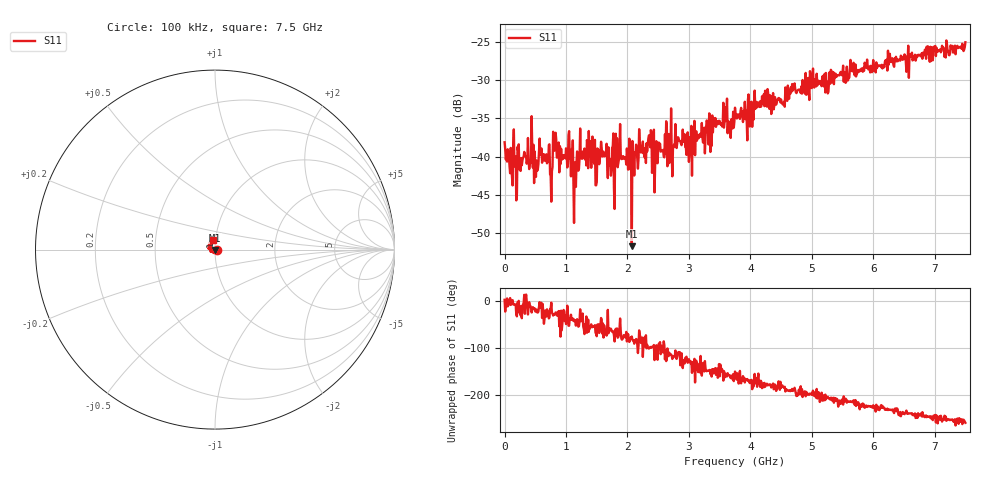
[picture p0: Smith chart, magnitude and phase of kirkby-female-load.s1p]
# Hz S RI R 50.000000
! FREQ  re:S1  1  im:S1  1
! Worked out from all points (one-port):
!   751 points, 100 kHz to 7.5 GHz, reference 50 ohm
!   lowest |S11| = -51.7 dB at 2.07 GHz (marker M1), VSWR 1.01, Z = 50.1 - j0.253 ohm
!   |S11| at or under -10 dB: start of sweep to end of sweep
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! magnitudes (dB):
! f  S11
! 100 kHz  -38.1
! 100.1 MHz  -38.9
! 440.1 MHz  -34.7
! 510.1 MHz  -42.6
! 590.1 MHz  -39.6
! 750.1 MHz  -42.5
! 820.1 MHz  -39.0
! 940.1 MHz  -40.3
! 1.08 GHz  -42.6
! 1.15 GHz  -40.7
! 1.2 GHz  -41.8
! 1.37 GHz  -36.6
! 1.51 GHz  -38.9
! 1.58 GHz  -38.9
! 1.76 GHz  -38.8
! 1.88 GHz  -35.7
! 2.07 GHz  -51.7
! 2.36 GHz  -37.5
! 2.47 GHz  -38.0
! 2.64 GHz  -36.0
! 2.82 GHz  -37.5
! 3.02 GHz  -37.4
! 3.31 GHz  -36.5
! 3.75 GHz  -33.6
! 4.69 GHz  -31.4
! 5.63 GHz  -27.4
! 6.57 GHz  -25.5
! 7.5 GHz  -25.1
